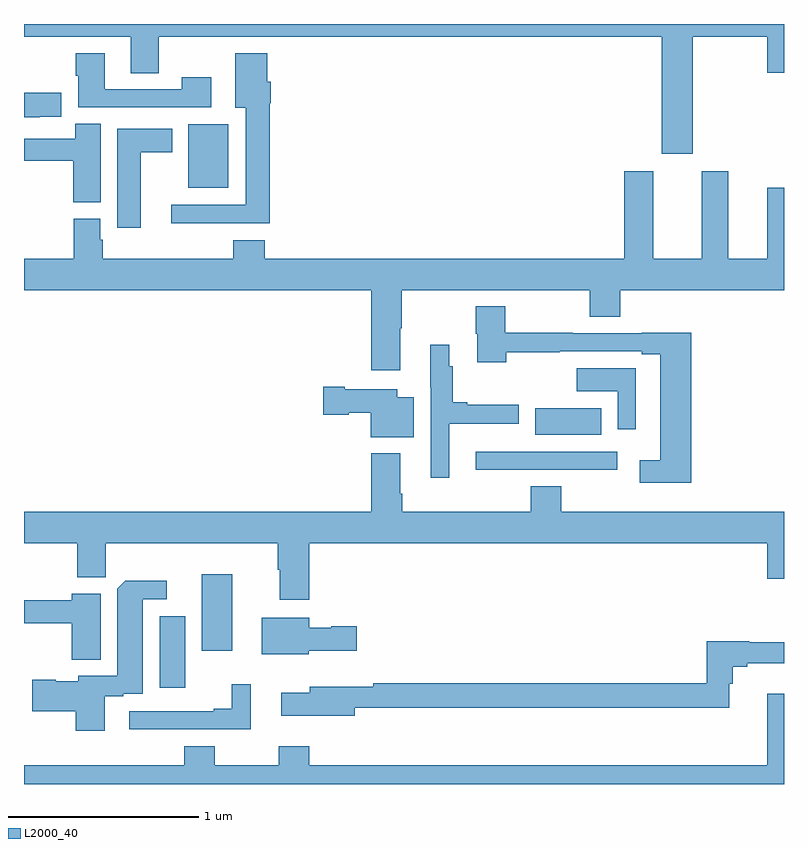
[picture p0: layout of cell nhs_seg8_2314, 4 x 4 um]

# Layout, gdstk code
import gdstk
lib = gdstk.Library(unit=1e-6, precision=1e-09)
def R(c, l, rs):  # rectangles x0, y0, x1, y1
    for r in rs: c.add(gdstk.rectangle(r[:2], r[2:], *l))
def P(c, l, *ps):  # polygons
    for p in ps: c.add(gdstk.Polygon(p, *l))
L2000_40 = (2000, 40)

nhs_seg8_2314 = lib.new_cell('nhs_seg8_2314')
R(nhs_seg8_2314, L2000_40, [(257.714,1114.407,257.848,1114.783), (257.936,1114.602,258.097,1115.005), (259.69,1115.738,260.039,1115.878), (257.864,1117.037,258.076,1117.372)])
P(nhs_seg8_2314, L2000_40, [(260.521,1117.832),(260.912,1117.832),(260.912,1117.644),(261,1117.644),(261,1117.9),(257,1117.9),(257,1117.832),(257.561,1117.832),(257.561,1117.642),(257.709,1117.642),(257.709,1117.832),(260.357,1117.832),(260.357,1117.218),(260.521,1117.218)],
  [(257.986,1117.621),(257.83,1117.621),(257.83,1117.557),(257.425,1117.557),(257.425,1117.747),(257.273,1117.747),(257.273,1117.627),(257.285,1117.627),(257.285,1117.461),(257.986,1117.461)],
  [(258.293,1117.482),(258.298,1117.482),(258.298,1117.596),(258.28,1117.596),(258.28,1117.747),(258.113,1117.747),(258.113,1117.46),(258.167,1117.46),(258.167,1116.948),(257.775,1116.948),(257.775,1116.851),(258.293,1116.851)],
  [(257.084,1117.412),(257.196,1117.412),(257.196,1117.539),(257,1117.539),(257,1117.409),(257.084,1117.409)],
  [(257.404,1117.376),(257.269,1117.376),(257.269,1117.296),(257,1117.296),(257,1117.18),(257.258,1117.18),(257.258,1116.961),(257.404,1116.961)],
  [(257.614,1117.226),(257.779,1117.226),(257.779,1117.348),(257.492,1117.348),(257.492,1116.828),(257.614,1116.828)],
  [(258.979,1116.298),(258.987,1116.298),(258.987,1116.5),(259.978,1116.5),(259.978,1116.358),(260.138,1116.358),(260.138,1116.5),(261,1116.5),(261,1117.039),(260.912,1117.039),(260.912,1116.664),(260.707,1116.664),(260.707,1117.126),(260.567,1117.126),(260.567,1116.664),(260.311,1116.664),(260.311,1117.126),(260.159,1117.126),(260.159,1116.664),(258.266,1116.664),(258.266,1116.763),(258.101,1116.763),(258.101,1116.664),(257.414,1116.664),(257.414,1116.765),(257.401,1116.765),(257.401,1116.876),(257.261,1116.876),(257.261,1116.664),(257,1116.664),(257,1116.5),(258.827,1116.5),(258.827,1116.078),(258.979,1116.078)],
  [(260.513,1116.276),(260.252,1116.276),(260.252,1116.273),(259.889,1116.273),(259.889,1116.276),(259.533,1116.276),(259.533,1116.415),(259.378,1116.415),(259.378,1116.27),(259.385,1116.27),(259.385,1116.12),(259.538,1116.12),(259.538,1116.172),(259.82,1116.172),(259.82,1116.177),(260.252,1116.177),(260.252,1116.161),(260.348,1116.161),(260.348,1115.603),(260.241,1115.603),(260.241,1115.486),(260.513,1115.486)],
  [(259.237,1115.795),(259.605,1115.795),(259.605,1115.895),(259.333,1115.895),(259.333,1115.908),(259.256,1115.908),(259.256,1116.098),(259.237,1116.098),(259.237,1116.211),(259.139,1116.211),(259.139,1115.989),(259.14,1115.989),(259.14,1115.511),(259.237,1115.511)],
  [(260.22,1116.087),(259.908,1116.087),(259.908,1115.966),(260.124,1115.966),(260.124,1115.766),(260.22,1115.766)],
  [(259.051,1115.935),(258.964,1115.935),(258.964,1115.977),(258.688,1115.977),(258.688,1115.99),(258.576,1115.99),(258.576,1115.843),(258.708,1115.843),(258.708,1115.855),(258.824,1115.855),(258.824,1115.726),(259.051,1115.726)],
  [(260.122,1115.649),(259.596,1115.649),(259.596,1115.65),(259.377,1115.65),(259.377,1115.553),(260.122,1115.553)],
  [(258.5,1115.168),(260.912,1115.168),(260.912,1114.98),(261,1114.98),(261,1115.332),(259.827,1115.332),(259.827,1115.468),(259.666,1115.468),(259.666,1115.332),(258.992,1115.332),(258.992,1115.428),(258.979,1115.428),(258.979,1115.641),(258.827,1115.641),(258.827,1115.332),(257,1115.332),(257,1115.168),(257.279,1115.168),(257.279,1114.987),(257.429,1114.987),(257.429,1115.168),(258.335,1115.168),(258.335,1115.027),(258.347,1115.027),(258.347,1114.869),(258.5,1114.869)],
  [(257.425,1114.362),(257.522,1114.362),(257.522,1114.374),(257.626,1114.374),(257.626,1114.872),(257.752,1114.872),(257.752,1114.97),(257.533,1114.97),(257.492,1114.928),(257.492,1114.47),(257.285,1114.47),(257.285,1114.441),(257.168,1114.441),(257.168,1114.449),(257.043,1114.449),(257.043,1114.283),(257.273,1114.283),(257.273,1114.179),(257.425,1114.179)],
  [(257.404,1114.902),(257.252,1114.902),(257.252,1114.867),(257,1114.867),(257,1114.746),(257.252,1114.746),(257.252,1114.555),(257.404,1114.555)],
  [(258.498,1114.601),(258.751,1114.601),(258.751,1114.731),(258.618,1114.731),(258.618,1114.723),(258.502,1114.723),(258.502,1114.774),(258.251,1114.774),(258.251,1114.583),(258.498,1114.583)],
  [(258.742,1114.302),(260.711,1114.302),(260.711,1114.428),(260.729,1114.428),(260.729,1114.516),(260.806,1114.516),(260.806,1114.535),(261,1114.535),(261,1114.645),(260.816,1114.645),(260.816,1114.652),(260.593,1114.652),(260.593,1114.43),(258.838,1114.43),(258.838,1114.412),(258.503,1114.412),(258.503,1114.381),(258.354,1114.381),(258.354,1114.259),(258.742,1114.259)],
  [(258.193,1114.426),(258.094,1114.426),(258.094,1114.297),(257.999,1114.297),(257.999,1114.284),(257.553,1114.284),(257.553,1114.188),(258.193,1114.188)],
  [(258.5,1114.099),(258.34,1114.099),(258.34,1114),(258.003,1114),(258.003,1114.099),(257.843,1114.099),(257.843,1114),(257,1114),(257,1113.9),(261,1113.9),(261,1114.375),(260.912,1114.375),(260.912,1114),(258.5,1114)])

lib.write_gds('nhs_seg8_2314.gds')
